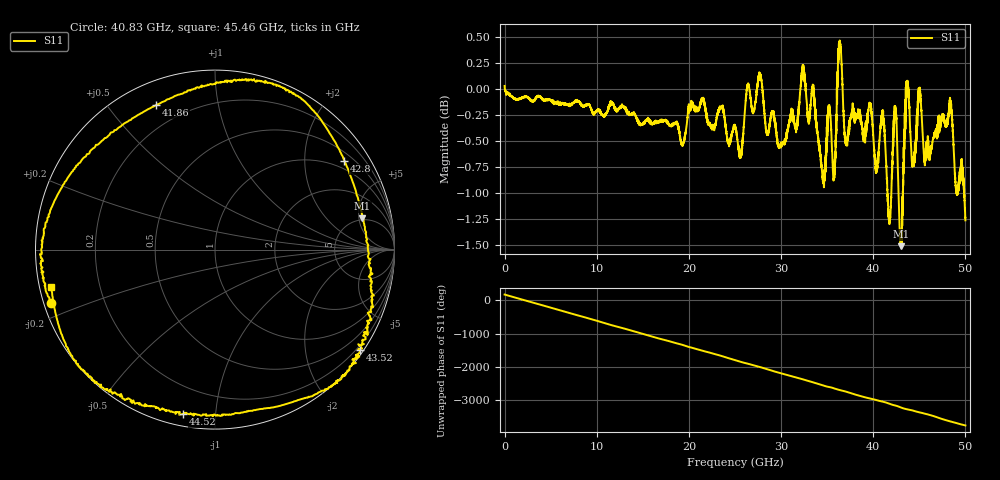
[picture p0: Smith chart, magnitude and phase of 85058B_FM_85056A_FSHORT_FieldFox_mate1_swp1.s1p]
!Created with skrf (http://scikit-rf.org).
# Hz S RI R 50.0
!freq ReS11 ImS11
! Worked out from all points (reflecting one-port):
!   10000 points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, 5.3 MHz to 50 GHz, reference 50 ohm
!   lowest |S11| = -1.5 dB at 42.99 GHz (marker M1), VSWR 11.51, Z = 236 + j280 ohm
!   phase of S11 starts at 180 deg and turns -3953 deg over the sweep
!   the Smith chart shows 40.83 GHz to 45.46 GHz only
!   S11 on the Smith chart (normalised r, x): 40.83 GHz: 0.02, -0.16; 41.86 GHz: 0.10, +0.67; 42.8 GHz: 0.73, +3.07; 43.52 GHz: 0.11, -3.21; 44.52 GHz: 0.06, -0.82; 45.46 GHz: 0.03, -0.11
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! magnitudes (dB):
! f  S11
! 5.3 MHz  0.0
! 6.255 GHz  -0.1
! 12.51 GHz  -0.2
! 18.76 GHz  -0.3
! 25.01 GHz  -0.4
! 27.68 GHz  0.1
! 29.82 GHz  -0.6
! 31.26 GHz  -0.2
! 32.42 GHz  0.1
! 34.53 GHz  -0.8
! 35.21 GHz  -0.2
! 35.72 GHz  -0.9
! 36.39 GHz  0.4
! 37 GHz  -0.5
! 37.51 GHz  -0.3
! 40.36 GHz  -0.8
! 40.83 GHz  -0.3
! 41.86 GHz  -1.2
! 42.38 GHz  -0.2
! 42.8 GHz  -1.2
! 42.99 GHz  -1.5
! 43.52 GHz  -0.2
! 43.76 GHz  0.0
! 44.52 GHz  -0.6
! 45.01 GHz  0.0
! 45.46 GHz  -0.6
! 48.36 GHz  -0.1
! 50 GHz  -1.3
